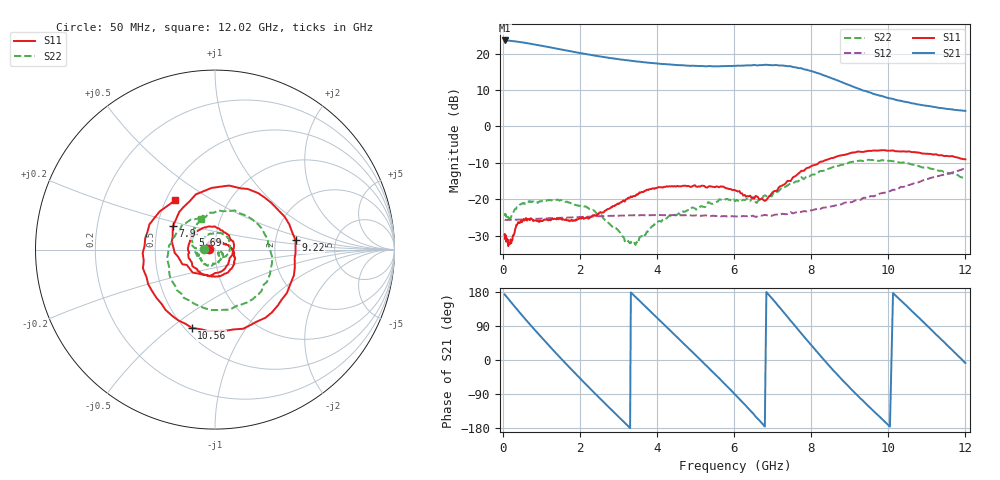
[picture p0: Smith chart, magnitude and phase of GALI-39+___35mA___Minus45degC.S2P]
! Mini-Circuits
! S2P DATA File Format
! Type: MMIC Amplifier
! Model: GALI-39  Reference Data:RDF-1232
! Note: All S Parameters are in dB deg format
! TEST CONDITIONS: INPUT POWER = -25dBm, Icc = 35mA, Vd = 3.80V @Temperature = -45degC
! 401 Frequency points
# MHz S DB R 50
!  FREQ  dB(S11)  PHS(S11)  dB(S21)  PHS(S21)  dB(S12)  PHS(S12)  dB(S22)  PHS(S22)
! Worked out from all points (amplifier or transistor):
!   401 points, 50 MHz to 12.02 GHz, reference 50 ohm
!   highest |S21| = 23.7 dB at 62 MHz (marker M1)
!   |S21| within 3 dB of that: start of sweep to 1.782 GHz
!   unconditionally stable (mu >= 1): start of sweep to end of sweep
!   at 965 MHz: K = 1.06, MAG = 22.3 dB, |S12| = -25.4 dB
!   at 3.31 GHz: K = 1.26, MAG = 18.2 dB, |S12| = -24.5 dB
!   at 12.02 GHz: K = 1.20, MAG = 5.2 dB, |S12| = -11.5 dB
!   S11 on the Smith chart (normalised r, x): 50 MHz: 0.94, +0.01; 5.69 GHz: 0.77, +0.13; 7.9 GHz: 0.60, +0.17; 9.22 GHz: 2.60, +0.34; 10.56 GHz: 0.54, -0.59; 12.02 GHz: 0.56, +0.35
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50  -29.87 172.2  23.66 173.1  -25.69 -3.9  -24.24 175.3
62  -30.35 174.5  23.67 171.7  -25.70 -4.7  -24.45 175.5
440  -26.60 151.6  23.24 125.4  -25.61 -30.3  -21.54 143.5
775  -25.63 123.2  22.66 86.1  -25.44 -54.0  -20.72 110.6
1385  -25.53 71.8  21.46 18.0  -25.16 -98.2  -20.16 51.7
2050  -25.24 44.1  20.14 -52.6  -24.87 -147.9  -21.82 -9.2
2525  -23.68 29.7  19.28 -101.2  -24.67 175.8  -24.25 -41.9
3100  -20.68 4.2  18.40 -158.9  -24.50 130.3  -30.08 -53.9
3540  -18.31 -23.5  17.85 157.8  -24.46 94.7  -31.01 -21.8
4050  -16.65 -60.6  17.29 107.4  -24.36 52.0  -26.10 -30.5
4920  -16.48 -135.8  16.73 21.9  -24.52 -24.9  -22.27 -77.9
5690  -16.58 145.4  16.60 -55.3  -24.70 -97.1  -20.25 -122.1
6040  -17.54 103.6  16.68 -91.4  -24.72 -131.2  -20.56 -140.4
6920  -19.24 -48.0  16.91 171.2  -24.52 136.4  -19.45 176.3
7400  -14.96 -134.1  16.59 113.9  -24.09 85.5  -16.23 145.1
7900  -11.41 151.2  15.60 53.0  -23.37 33.1  -13.63 98.9
8040  -10.76 133.3  15.20 36.1  -23.05 18.5  -13.20 84.2
8660  -8.31 61.7  12.84 -34.8  -21.70 -45.5  -10.90 24.8
9220  -6.90 6.6  10.49 -93.8  -20.29 -100.5  -9.48 -24.3
10060  -6.66 -64.5  7.73 -175.7  -17.80 -178.8  -9.44 -93.0
10560  -6.84 -106.6  6.59 135.8  -16.10 133.7  -10.16 -133.3
12020  -9.02 128.8  4.30 -8.0  -11.47 -2.5  -14.60 113.9
